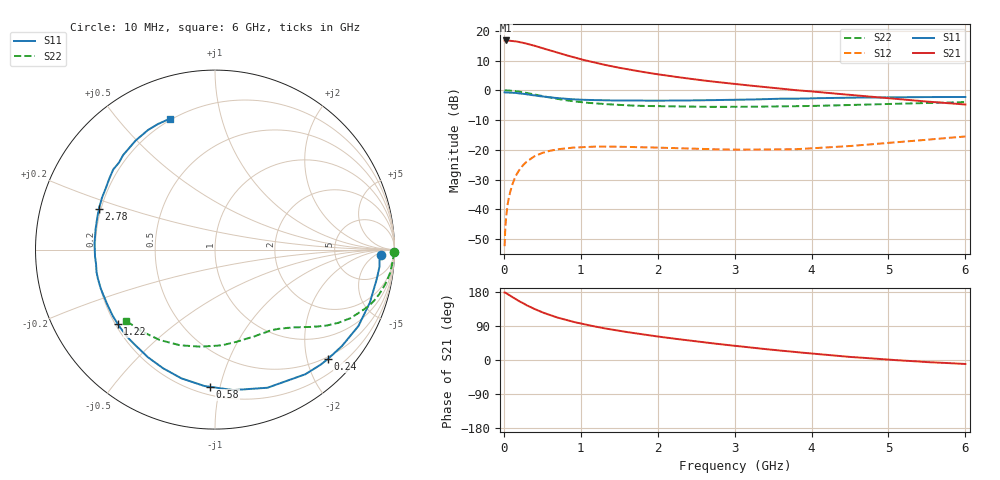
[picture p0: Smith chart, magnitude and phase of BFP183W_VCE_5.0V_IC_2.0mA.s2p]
! Infineon Technologies  Discrete & RF Semiconductors
! BFP183W
! VCE = 5.0 V,  IC =  2.0 mA
! Common Emitter S-Parameters:  Jan 2016
# GHz  S  MA  R  50
!  f  S11  S21  S12  S22
! GHz  MAG  ANG  MAG  ANG  MAG  ANG  MAG  ANG
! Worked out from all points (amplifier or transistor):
!   210 points, 10 MHz to 6 GHz, reference 50 ohm
!   highest |S21| = 16.7 dB at 30 MHz (marker M1)
!   |S21| within 3 dB of that: start of sweep to 555 MHz
!   unconditionally stable (mu >= 1): 2.396 GHz to end of sweep
!   at 185 MHz: K = 0.09, MSG = 21.9 dB, |S12| = -27.5 dB
!   at 1.52 GHz: K = 0.64, MSG = 13.2 dB, |S12| = -19.0 dB
!   at 6 GHz: K = 1.04, MAG = 4.1 dB, |S12| = -15.5 dB
!   S11 on the Smith chart (normalised r, x): 10 MHz: 21, -9; 240 MHz: 0.46, -2.39; 580 MHz: 0.25, -0.93; 1.22 GHz: 0.21, -0.32; 2.78 GHz: 0.19, +0.16; 6 GHz: 0.19, +0.70
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0.01  0.9233 -2.0  6.821 178.0  0.0024 91.1  0.9971 -0.8
0.02  0.9188 -3.8  6.861 177.6  0.0051 83.8  0.9936 -1.6
0.03  0.9217 -5.8  6.872 176.4  0.0073 86.1  0.9947 -2.4
0.065  0.9132 -12.4  6.816 171.9  0.0156 82.2  0.9889 -5.1
0.11  0.9087 -20.7  6.731 166.3  0.0259 77.6  0.9801 -8.5
0.19  0.8898 -35.4  6.518 156.3  0.0434 69.8  0.9521 -14.4
0.24  0.8759 -44.2  6.328 151.0  0.0532 64.9  0.9309 -17.8
0.3  0.8576 -54.1  6.062 144.1  0.0637 59.6  0.8994 -21.4
0.4  0.8233 -69.2  5.598 134.5  0.0779 51.4  0.8477 -26.7
0.5  0.7893 -82.6  5.118 125.7  0.0886 45.0  0.7981 -30.8
0.58  0.7651 -92.0  4.757 120.0  0.0947 40.4  0.7615 -33.5
0.7  0.7415 -104.6  4.295 111.8  0.1019 34.7  0.7148 -36.8
0.8  0.7217 -113.6  3.919 106.0  0.1059 30.9  0.682 -39.2
1.02  0.6928 -130.4  3.273 95.4  0.1109 24.1  0.6292 -43.5
1.22  0.682 -142.7  2.838 87.0  0.1132 19.6  0.5979 -46.8
1.6  0.6724 -161.2  2.27 73.7  0.1121 14.8  0.5593 -52.6
2.02  0.6695 -177.2  1.841 61.5  0.1086 12.3  0.5388 -59.3
2.78  0.6853 160.6  1.371 42.5  0.1018 14.1  0.5263 -72.6
3.1  0.695 152.8  1.236 35.4  0.1007 16.5  0.5277 -78.9
4.1  0.7366 132.5  0.93 15.6  0.1077 27.2  0.549 -100.6
5.1  0.7643 118.2  0.715 -0.4  0.1333 34.6  0.5932 -123.7
6  0.7714 109.0  0.576 -10.5  0.1673 35.6  0.6338 -141.1
